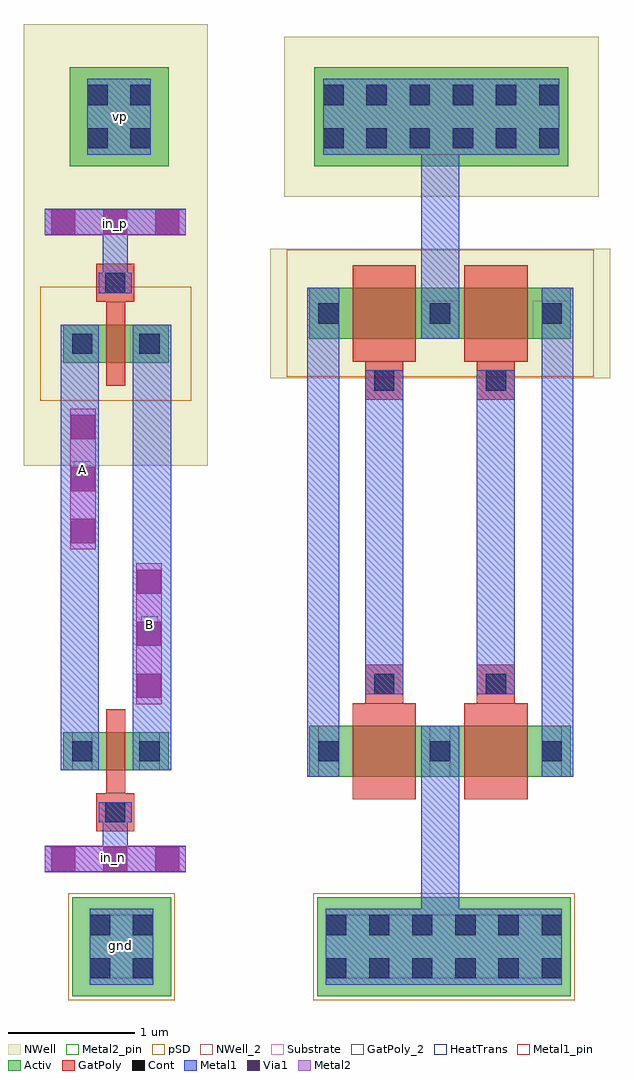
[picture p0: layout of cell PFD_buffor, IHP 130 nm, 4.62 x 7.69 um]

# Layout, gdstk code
import gdstk
lib = gdstk.Library(unit=1e-6, precision=1e-09)
def R(c, l, rs):  # rectangles x0, y0, x1, y1
    for r in rs: c.add(gdstk.rectangle(r[:2], r[2:], *l))
def A(c, l, x, y, w, h, nx, ny, dx, dy):  # array of equal rectangles
    R(c, l, [(x+i*dx, y+j*dy, x+i*dx+w, y+j*dy+h) for i in range(nx) for j in range(ny)])
Activ = (1, 0)
GatPoly = (5, 0)
GatPoly_2 = (5, 2)
Cont = (6, 0)
Metal1 = (8, 0)
Metal1_pin = (8, 2)
Metal2 = (10, 0)
Metal2_pin = (10, 2)
pSD = (14, 0)
Via1 = (19, 0)
NWell = (31, 0)
NWell_2 = (31, 2)
Substrate = (40, 0)
HeatTrans = (51, 0)

pmos_2 = lib.new_cell('pmos$2')
R(pmos_2, Activ, [(0,0,0.3,0.3), (0,0,0.83,0.3), (0.53,0,0.83,0.3)])
R(pmos_2, GatPoly, [(0.34,-0.18,0.49,0.48), (0.34,-0.18,0.49,0.48)])
R(pmos_2, Cont, [(0.07,0.07,0.23,0.23), (0.6,0.07,0.76,0.23)])
R(pmos_2, Metal1, [(0.07,0,0.23,0.3), (0.07,0,0.23,0.3), (0.6,0,0.76,0.3), (0.6,0,0.76,0.3)])
R(pmos_2, pSD, [(-0.18,-0.3,1.01,0.6)])
R(pmos_2, NWell, [(-0.31,-0.31,1.14,0.61)])
R(pmos_2, Substrate, [(0.53,0,0.83,0.3)])
R(pmos_2, HeatTrans, [(0.34,-0.18,0.49,0.48)])
pmos_2.add(gdstk.Label('pmos', (0.415,0.15), layer=63, texttype=0))
pmos_2.add(gdstk.Label('pmos', (0.415,0.15), layer=51, texttype=0))

ntap1 = lib.new_cell('ntap1')
R(ntap1, Activ, [(0,0,2,0.78)])
A(ntap1, Cont, 0.07, 0.14, 0.16, 0.16, 6, 2, 0.34, 0.34)
R(ntap1, Metal1, [(0.07,0.09,1.93,0.69)])
R(ntap1, Metal1_pin, [(0.07,0.09,1.93,0.69), (0.07,0.14,1.93,0.64)])
R(ntap1, NWell, [(-0.24,-0.24,2.24,1.02), (0,0,2,0.78)])
R(ntap1, NWell_2, [(0,0,2,0.78)])
ntap1.add(gdstk.Label('well', (1,0.01), layer=31, texttype=0))
ntap1.add(gdstk.Label('well', (1,0.01), layer=63, texttype=0))

nmos_2 = lib.new_cell('nmos$2')
R(nmos_2, Activ, [(0,0,0.3,0.3), (0,0,0.83,0.3), (0.53,0,0.83,0.3)])
R(nmos_2, GatPoly, [(0.34,-0.18,0.49,0.48)])
R(nmos_2, GatPoly_2, [(0.34,-0.18,0.49,0.48)])
R(nmos_2, Cont, [(0.07,0.07,0.23,0.23), (0.6,0.07,0.76,0.23)])
R(nmos_2, Metal1, [(0.07,0,0.23,0.3), (0.6,0,0.76,0.3)])
R(nmos_2, Metal1_pin, [(0.07,0,0.23,0.3), (0.6,0,0.76,0.3)])
R(nmos_2, HeatTrans, [(0.34,-0.18,0.49,0.48)])
nmos_2.add(gdstk.Label('nmos', (0.415,0.15), layer=63, texttype=0))
nmos_2.add(gdstk.Label('nmos', (0.415,0.15), layer=51, texttype=0))

ptap1_2 = lib.new_cell('ptap1$2')
R(ptap1_2, Activ, [(0,0,0.78,0.78)])
R(ptap1_2, Cont, [(0.14,0.14,0.3,0.3), (0.48,0.14,0.64,0.3), (0.14,0.48,0.3,0.64), (0.48,0.48,0.64,0.64)])
R(ptap1_2, Metal1, [(0.14,0.09,0.64,0.69), (0.14,0.14,0.64,0.64)])
R(ptap1_2, Metal1_pin, [(0.14,0.14,0.64,0.64)])
R(ptap1_2, pSD, [(-0.03,-0.03,0.81,0.81)])
R(ptap1_2, Substrate, [(0,0,0.78,0.78)])
ptap1_2.add(gdstk.Label('sub!', (0.39,0.01), layer=63, texttype=0))
ptap1_2.add(gdstk.Label('sub!', (0.39,0.01), layer=40, texttype=0))

ntap1_2 = lib.new_cell('ntap1$2')
R(ntap1_2, Activ, [(0,0,0.78,0.78)])
R(ntap1_2, Cont, [(0.14,0.14,0.3,0.3), (0.48,0.14,0.64,0.3), (0.14,0.48,0.3,0.64), (0.48,0.48,0.64,0.64)])
R(ntap1_2, Metal1, [(0.14,0.09,0.64,0.69)])
R(ntap1_2, Metal1_pin, [(0.14,0.09,0.64,0.69), (0.14,0.14,0.64,0.64)])
R(ntap1_2, NWell, [(-0.24,-0.24,1.02,1.02), (0,0,0.78,0.78)])
R(ntap1_2, NWell_2, [(0,0,0.78,0.78)])
ntap1_2.add(gdstk.Label('well', (0.39,0.01), layer=31, texttype=0))
ntap1_2.add(gdstk.Label('well', (0.39,0.01), layer=63, texttype=0))

pmos = lib.new_cell('pmos')
R(pmos, Activ, [(0,0,0.3,0.3), (0,0,1.18,0.4), (0.88,0,1.18,0.3)])
R(pmos, GatPoly, [(0.34,-0.18,0.84,0.58), (0.34,-0.18,0.84,0.58)])
R(pmos, Cont, [(0.07,0.12,0.23,0.28), (0.95,0.12,1.11,0.28)])
R(pmos, Metal1, [(0.07,0,0.23,0.4), (0.07,0,0.23,0.4), (0.95,0,1.11,0.4), (0.95,0,1.11,0.4)])
R(pmos, pSD, [(-0.18,-0.3,1.36,0.7)])
R(pmos, NWell, [(-0.31,-0.31,1.49,0.71)])
R(pmos, Substrate, [(0.88,0,1.18,0.3)])
R(pmos, HeatTrans, [(0.34,-0.18,0.84,0.58)])
pmos.add(gdstk.Label('pmos', (0.59,0.2), layer=63, texttype=0))
pmos.add(gdstk.Label('pmos', (0.59,0.2), layer=51, texttype=0))

via_10 = lib.new_cell('Via$10')
R(via_10, Metal1, [(-0.555,-0.105,0.555,0.105)])
R(via_10, Metal2, [(-0.555,-0.1,0.555,0.1)])
A(via_10, Via1, -0.505, -0.095, 0.19, 0.19, 3, 1, 0.41, 0)

via_5_2 = lib.new_cell('Via$5$2')
R(via_5_2, GatPoly, [(-0.15,-0.15,0.15,0.15)])
R(via_5_2, Cont, [(-0.08,-0.08,0.08,0.08)])
R(via_5_2, Metal1, [(-0.13,-0.08,0.13,0.08)])

nmos = lib.new_cell('nmos')
R(nmos, Activ, [(0,0,0.3,0.3), (0,0,1.18,0.4), (0.88,0,1.18,0.3)])
R(nmos, GatPoly, [(0.34,-0.18,0.84,0.58)])
R(nmos, GatPoly_2, [(0.34,-0.18,0.84,0.58)])
R(nmos, Cont, [(0.07,0.12,0.23,0.28), (0.95,0.12,1.11,0.28)])
R(nmos, Metal1, [(0.07,0,0.23,0.4), (0.95,0,1.11,0.4)])
R(nmos, Metal1_pin, [(0.07,0,0.23,0.4), (0.95,0,1.11,0.4)])
R(nmos, HeatTrans, [(0.34,-0.18,0.84,0.58)])
nmos.add(gdstk.Label('nmos', (0.59,0.2), layer=63, texttype=0))
nmos.add(gdstk.Label('nmos', (0.59,0.2), layer=51, texttype=0))

ptap1 = lib.new_cell('ptap1')
R(ptap1, Activ, [(0,0,2,0.78)])
A(ptap1, Cont, 0.07, 0.14, 0.16, 0.16, 6, 2, 0.34, 0.34)
R(ptap1, Metal1, [(0.07,0.09,1.93,0.69), (0.07,0.14,1.93,0.64)])
R(ptap1, Metal1_pin, [(0.07,0.14,1.93,0.64)])
R(ptap1, pSD, [(-0.03,-0.03,2.03,0.81)])
R(ptap1, Substrate, [(0,0,2,0.78)])
ptap1.add(gdstk.Label('sub!', (1,0.01), layer=63, texttype=0))
ptap1.add(gdstk.Label('sub!', (1,0.01), layer=40, texttype=0))

via_3 = lib.new_cell('Via$3')
R(via_3, Metal1, [(-0.105,-0.555,0.105,0.555)])
R(via_3, Metal2, [(-0.1,-0.555,0.1,0.555)])
A(via_3, Via1, -0.095, -0.505, 0.19, 0.19, 1, 3, 0, 0.41)

via = lib.new_cell('Via')
R(via, GatPoly, [(-0.15,-0.15,0.15,0.15)])
R(via, Cont, [(-0.08,-0.08,0.08,0.08)])
R(via, Metal1, [(-0.13,-0.08,0.13,0.08)])

pfd_buffor = lib.new_cell('PFD_buffor')
R(pfd_buffor, Metal1_pin, [(-3.245,-4.395,-3.115,-4.265), (-3.245,2.135,-3.115,2.265)])
R(pfd_buffor, Metal2_pin, [(-3.295,-3.705,-3.165,-3.575), (-3.015,-1.865,-2.885,-1.735), (-3.545,-0.645,-3.415,-0.515), (-3.285,1.295,-3.155,1.425)])
R(pfd_buffor, NWell, [(-3.94,-0.55,-2.49,2.83), (-3.94,2.83,-2.49,2.93)])
pfd_buffor.add(gdstk.FlexPath([(-2.93,0.56),(-2.93,-2.95)], 0.3, ends="flush", simple_path=True, layer=8, datatype=0))  # Metal1
pfd_buffor.add(gdstk.FlexPath([(-3.5,0.56),(-3.5,-2.95)], 0.3, ends="flush", simple_path=True, layer=8, datatype=0))  # Metal1
pfd_buffor.add(gdstk.FlexPath([(-3.22,0.81),(-3.22,1.33)], 0.2, ends="flush", simple_path=True, layer=8, datatype=0))  # Metal1
pfd_buffor.add(gdstk.FlexPath([(-3.22,-3.72),(-3.22,-3.2)], 0.2, ends="flush", simple_path=True, layer=8, datatype=0))  # Metal1
pfd_buffor.add(gdstk.FlexPath([(-0.66,0.45),(-0.66,1.95)], 0.3, ends="flush", simple_path=True, layer=8, datatype=0))  # Metal1
pfd_buffor.add(gdstk.FlexPath([(-0.66,-2.6),(-0.66,-4.04)], 0.3, ends="flush", simple_path=True, layer=8, datatype=0))  # Metal1
pfd_buffor.add(gdstk.FlexPath([(-1.1,0.2),(-1.1,-2.35)], 0.3, ends="flush", simple_path=True, layer=8, datatype=0))  # Metal1
pfd_buffor.add(gdstk.FlexPath([(-0.22,0.2),(-0.22,-2.35)], 0.3, ends="flush", simple_path=True, layer=8, datatype=0))  # Metal1
pfd_buffor.add(gdstk.FlexPath([(0.265,-3),(0.265,0.85)], 0.25, ends="flush", simple_path=True, layer=8, datatype=0))  # Metal1
pfd_buffor.add(gdstk.FlexPath([(-1.58,-3),(-1.58,0.85)], 0.25, ends="flush", simple_path=True, layer=8, datatype=0))  # Metal1
pfd_buffor.add(gdstk.Reference(pmos_2, (-3.63,0.26)))
pfd_buffor.add(gdstk.Reference(ntap1, (-1.65,1.81)))
pfd_buffor.add(gdstk.Reference(nmos_2, (-3.63,-2.95)))
pfd_buffor.add(gdstk.Reference(ptap1_2, (-3.56,-4.73)))
pfd_buffor.add(gdstk.Reference(ntap1_2, (-3.58,1.81)))
pfd_buffor.add(gdstk.Reference(pmos, (-1.69,0.45)))
pfd_buffor.add(gdstk.Reference(via_10, (-3.22,1.37)))
pfd_buffor.add(gdstk.Reference(pmos, (-0.81,0.45)))
pfd_buffor.add(gdstk.Reference(via_5_2, (-3.22,0.89)))
pfd_buffor.add(gdstk.Reference(nmos, (-0.81,-3)))
pfd_buffor.add(gdstk.Reference(via_5_2, (-3.22,-3.28)))
pfd_buffor.add(gdstk.Reference(nmos, (-1.69,-3)))
pfd_buffor.add(gdstk.Reference(ptap1, (-1.63,-4.73)))
pfd_buffor.add(gdstk.Reference(via_10, (-3.22,-3.65)))
pfd_buffor.add(gdstk.Reference(via_3, (-3.475,-0.655)))
pfd_buffor.add(gdstk.Reference(via_3, (-2.955,-1.875)))
pfd_buffor.add(gdstk.Reference(via, (-1.1,-2.27)))
pfd_buffor.add(gdstk.Reference(via, (-1.1,0.12)))
pfd_buffor.add(gdstk.Reference(via, (-0.22,-2.27)))
pfd_buffor.add(gdstk.Reference(via, (-0.22,0.12)))
pfd_buffor.add(gdstk.Label('gnd', (-3.18,-4.33), layer=8, texttype=25))
pfd_buffor.add(gdstk.Label('vp', (-3.18,2.2), layer=8, texttype=25))
pfd_buffor.add(gdstk.Label('A', (-3.48,-0.58), layer=10, texttype=25))
pfd_buffor.add(gdstk.Label('B', (-2.95,-1.8), layer=10, texttype=25))
pfd_buffor.add(gdstk.Label('in_p', (-3.22,1.36), layer=10, texttype=25))
pfd_buffor.add(gdstk.Label('in_n', (-3.23,-3.64), layer=10, texttype=25))

lib.write_gds('PFD_buffor.gds')
